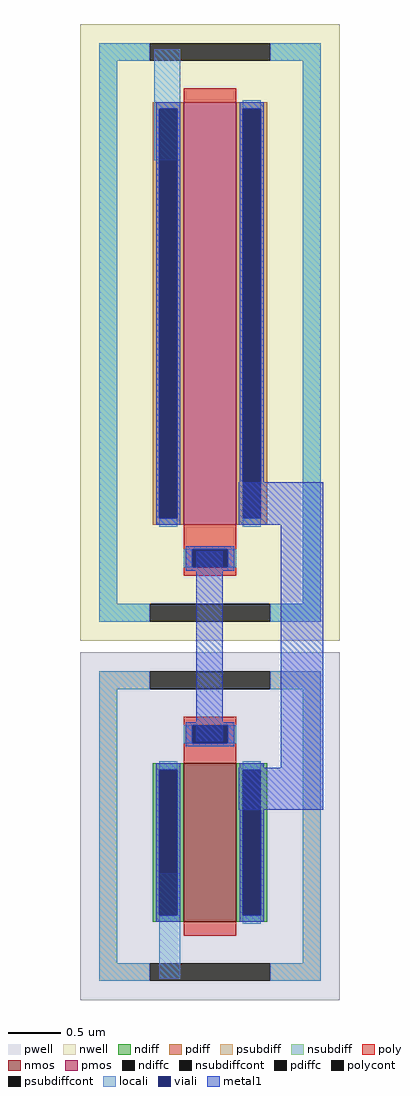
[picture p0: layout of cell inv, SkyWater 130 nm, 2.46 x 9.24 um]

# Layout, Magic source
magic
tech sky130A
magscale 1 2
<< locali >>
rect 80 830 130 1040
rect 90 -720 130 -520
<< metal1 >>
rect 240 140 400 220
rect 160 -270 210 90
rect 320 -320 400 140
rect 240 -400 400 -320
use sky130_fd_pr__nfet_01v8_Y5UG24  sky130_fd_pr__nfet_01v8_Y5UG24_0
transform 1 0 186 0 1 -431
box -246 -329 246 329
use sky130_fd_pr__pfet_01v8_TSNZVH  sky130_fd_pr__pfet_01v8_TSNZVH_0
transform 1 0 186 0 1 504
box -246 -584 246 584
<< end >>

# cell sky130_fd_pr__nfet_01v8_Y5UG24: kit device sky130_fd_pr__nfet_01v8, w 1.5 l 0.5 m 1 nf 1 diffcov 100 polycov 100 guard 1 glc 0 grc 0 gtc 1 gbc 1 tbcov 100 rlcov 100 topc 1 botc 0 poverlap 0 doverlap 1 lmin 0.15 wmin 0.42 compatible {sky130_fd_pr__nfet_01v8 sky130_fd_pr__nfet_01v8_lvt sky130_fd_bs_flash__special_sonosfet_star sky130_fd_pr__nfet_g5v0d10v5 sky130_fd_pr__nfet_05v0_nvt sky130_fd_pr__nfet_03v3_nvt} full_metal 1 viasrc 100 viadrn 100 viagate 100 viagb 0 viagr 0 viagl 0 viagt 0

# cell sky130_fd_pr__pfet_01v8_TSNZVH: kit device sky130_fd_pr__pfet_01v8, w 4 l 0.5 m 1 nf 1 diffcov 100 polycov 100 guard 1 glc 0 grc 0 gtc 1 gbc 1 tbcov 100 rlcov 100 topc 0 botc 1 poverlap 0 doverlap 1 lmin 0.15 wmin 0.42 compatible {sky130_fd_pr__pfet_01v8 sky130_fd_pr__pfet_01v8_lvt sky130_fd_pr__pfet_01v8_hvt sky130_fd_pr__pfet_g5v0d10v5} full_metal 1 viasrc 100 viadrn 100 viagate 100 viagb 0 viagr 0 viagl 0 viagt 0
